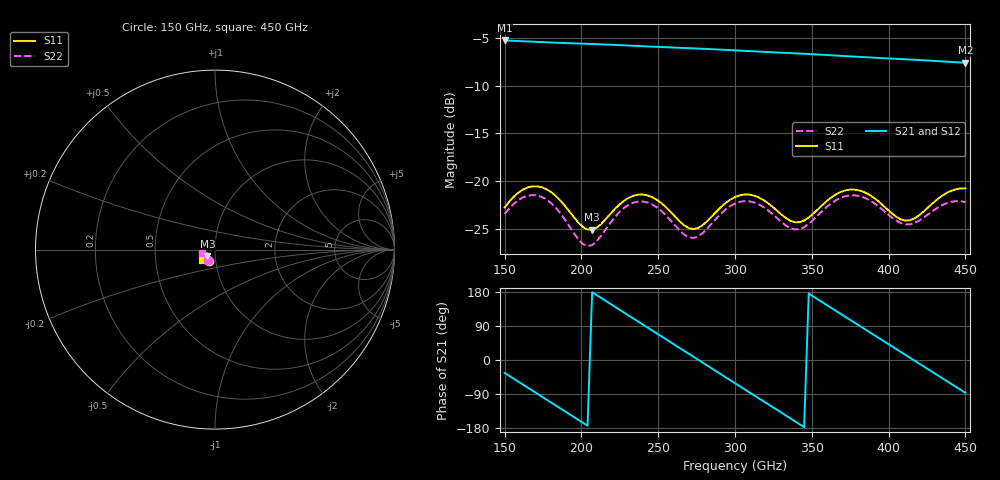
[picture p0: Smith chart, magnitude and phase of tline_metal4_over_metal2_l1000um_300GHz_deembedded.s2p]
! Created with skrf 2.0.1 (http://scikit-rf.org).
# GHz S DB R 50.0
!freq dBS11 angS11 dBS21 angS21 dBS12 angS12 dBS22 angS22
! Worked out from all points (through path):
!   101 points, 150 GHz to 450 GHz, reference 50 ohm
!   highest |S21| = -5.28 dB at 150 GHz (marker M1); lowest = -7.6 dB at 450 GHz (marker M2)
!   group delay of S21, straight-line fit = 7.16 ps
!   lowest |S11| = -25.1 dB at 207 GHz (marker M3), VSWR 1.12, Z = 45.9 - j3.37 ohm
!   |S11| at or under -10 dB: start of sweep to end of sweep
!   |S22| runs from -26.8 to -21.5 dB; largest |S21 - S12| = 6.2e-14
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150  -22.76 -117.3  -5.28 -34.1  -5.28 -34.1  -23.43 -124.2
162  -20.88 -126.4  -5.36 -65.1  -5.36 -65.1  -21.70 -133.9
174  -20.63 -140.5  -5.45 -96.1  -5.45 -96.1  -21.64 -148.7
186  -21.98 -151.7  -5.53 -127.0  -5.53 -127.0  -23.30 -160.2
201  -24.80 -147.6  -5.61 -165.7  -5.61 -165.7  -26.59 -152.6
207  -25.09 -138.9  -5.65 178.8  -5.65 178.8  -26.69 -141.3
219  -23.40 -128.8  -5.72 147.8  -5.72 147.8  -24.33 -131.3
231  -21.73 -134.2  -5.81 116.8  -5.81 116.8  -22.46 -139.0
252  -22.30 -151.9  -5.96 62.6  -5.96 62.6  -23.11 -159.1
264  -24.22 -151.7  -6.05 31.7  -6.05 31.7  -25.17 -159.2
276  -24.90 -137.7  -6.13 0.7  -6.13 0.7  -25.79 -144.5
288  -23.17 -130.0  -6.22 -30.3  -6.22 -30.3  -23.88 -137.6
300  -21.67 -135.4  -6.32 -61.2  -6.32 -61.2  -22.34 -144.2
321  -22.25 -150.5  -6.49 -115.3  -6.49 -115.3  -23.00 -160.7
336  -24.15 -146.3  -6.60 -153.9  -6.60 -153.9  -24.92 -156.7
351  -23.40 -132.0  -6.72 167.5  -6.72 167.5  -24.04 -143.1
366  -21.36 -134.6  -6.86 128.8  -6.86 128.8  -21.97 -147.0
378  -20.89 -143.9  -6.97 98.0  -6.97 98.0  -21.49 -157.1
402  -23.36 -151.9  -7.17 36.5  -7.17 36.5  -23.79 -167.4
423  -23.15 -132.6  -7.35 -17.5  -7.35 -17.5  -23.80 -152.9
438  -21.22 -134.8  -7.50 -55.9  -7.50 -55.9  -22.30 -156.6
450  -20.75 -142.8  -7.61 -86.6  -7.61 -86.6  -22.20 -165.4
